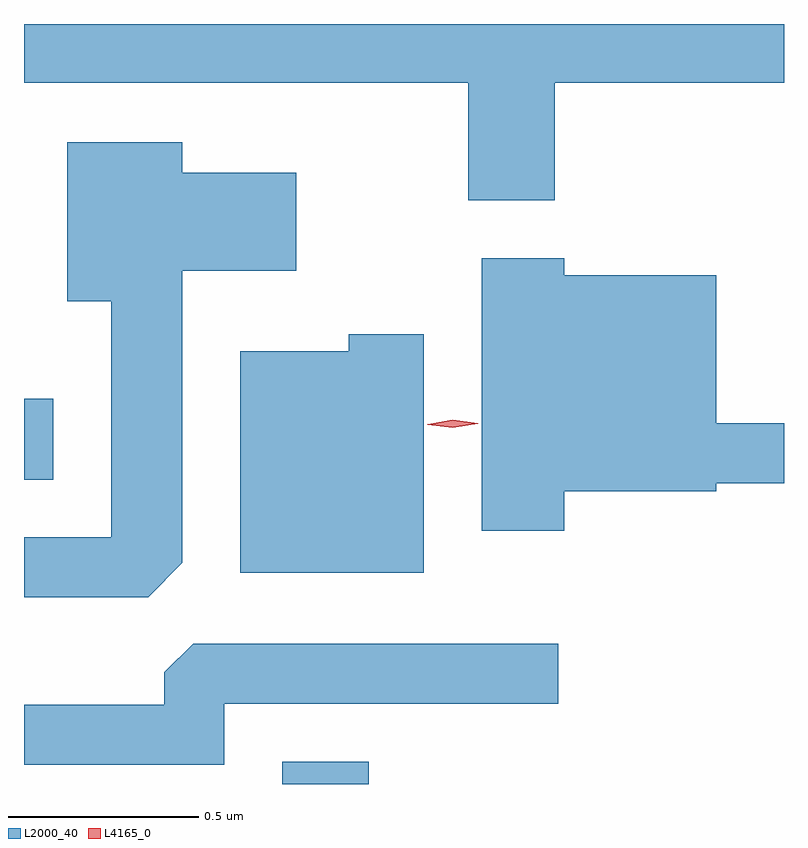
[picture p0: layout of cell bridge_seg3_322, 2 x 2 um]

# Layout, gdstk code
import gdstk
lib = gdstk.Library(unit=1e-6, precision=1e-09)
def R(c, l, rs):  # rectangles x0, y0, x1, y1
    for r in rs: c.add(gdstk.rectangle(r[:2], r[2:], *l))
def P(c, l, *ps):  # polygons
    for p in ps: c.add(gdstk.Polygon(p, *l))
L2000_40 = (2000, 40)
L4165_0 = (4165, 0)

bridge_seg3_322 = lib.new_cell('bridge_seg3_322')
R(bridge_seg3_322, L2000_40, [(542.941,1144.15,543.169,1144.209), (542.262,1144.951,542.339,1145.164)])
P(bridge_seg3_322, L2000_40, [(543.659,1145.996),(544.262,1145.996),(544.262,1146.15),(542.262,1146.15),(542.262,1145.996),(543.431,1145.996),(543.431,1145.686),(543.659,1145.686)],
  [(542.679,1144.732),(542.679,1145.501),(542.979,1145.501),(542.979,1145.759),(542.679,1145.759),(542.679,1145.839),(542.376,1145.839),(542.376,1145.421),(542.491,1145.421),(542.491,1144.799),(542.262,1144.799),(542.262,1144.641),(542.589,1144.641)],
  [(543.684,1144.921),(544.084,1144.921),(544.084,1144.941),(544.262,1144.941),(544.262,1145.099),(544.084,1145.099),(544.084,1145.489),(543.684,1145.489),(543.684,1145.534),(543.466,1145.534),(543.466,1144.816),(543.684,1144.816)],
  [(543.314,1145.334),(543.116,1145.334),(543.116,1145.289),(542.831,1145.289),(542.831,1144.706),(543.314,1144.706)],
  [(542.789,1144.361),(543.668,1144.361),(543.668,1144.519),(542.707,1144.519),(542.631,1144.444),(542.631,1144.359),(542.262,1144.359),(542.262,1144.201),(542.789,1144.201)])
P(bridge_seg3_322, L4165_0, [(543.39,1145.088),(543.324,1145.096),(543.323,1145.097),(543.324,1145.097),(543.39,1145.108),(543.456,1145.099),(543.457,1145.098),(543.456,1145.098)])

lib.write_gds('bridge_seg3_322.gds')
